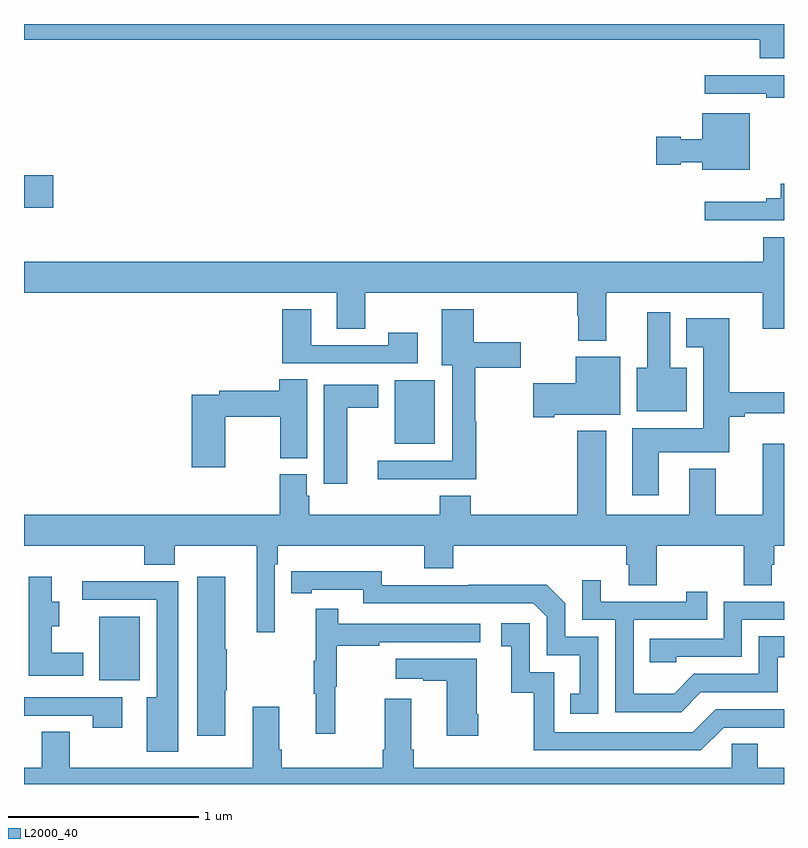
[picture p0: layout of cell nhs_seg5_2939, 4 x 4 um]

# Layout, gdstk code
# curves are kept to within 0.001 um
import gdstk
lib = gdstk.Library(unit=1e-6, precision=1e-09)
def R(c, l, rs):  # rectangles x0, y0, x1, y1
    for r in rs: c.add(gdstk.rectangle(r[:2], r[2:], *l))
def P(c, l, *ps):  # polygons
    for p in ps: c.add(gdstk.Polygon(p, *l))
L2000_40 = (2000, 40)

nhs_seg5_2939 = lib.new_cell('nhs_seg5_2939')
R(nhs_seg5_2939, L2000_40, [(281.396,897.344,281.608,897.679), (282.95,898.589,283.162,898.924), (281,899.831,281.155,900.002)])
P(nhs_seg5_2939, L2000_40, [(285,900.799),(281,900.799),(281,900.716),(284.873,900.716),(284.873,900.618),(285,900.618)],
  [(285,900.528),(284.829,900.528),(284.829,900.53),(284.583,900.53),(284.583,900.432),(284.906,900.432),(284.906,900.412),(285,900.412)],
  [(284.821,900.328),(284.57,900.328),(284.57,900.193),(284.457,900.193),(284.457,900.206),(284.328,900.206),(284.328,900.059),(284.457,900.059),(284.457,900.071),(284.57,900.071),(284.57,900.032),(284.821,900.032)],
  [(284.795,899.766),(285,899.766),(285,899.959),(284.983,899.959),(284.983,899.882),(284.906,899.882),(284.906,899.863),(284.583,899.863),(284.583,899.765),(284.795,899.765)],
  [(284.065,899.384),(284.888,899.384),(284.888,899.196),(285,899.196),(285,899.677),(284.891,899.677),(284.891,899.548),(281,899.548),(281,899.384),(282.647,899.384),(282.647,899.194),(282.795,899.194),(282.795,899.384),(283.913,899.384),(283.913,899.264),(283.918,899.264),(283.918,899.132),(284.065,899.132)],
  [(283.072,899.173),(282.916,899.173),(282.916,899.109),(282.511,899.109),(282.511,899.299),(282.359,899.299),(282.359,899.013),(283.072,899.013)],
  [(283.379,898.707),(283.374,898.707),(283.374,898.991),(283.615,898.991),(283.615,899.125),(283.366,899.125),(283.366,899.299),(283.199,899.299),(283.199,899.003),(283.253,899.003),(283.253,898.5),(282.861,898.5),(282.861,898.403),(283.379,898.403)],
  [(284.488,898.99),(284.401,898.99),(284.401,899.281),(284.279,899.281),(284.279,898.99),(284.225,898.99),(284.225,898.76),(284.488,898.76)],
  [(284.341,898.544),(284.711,898.544),(284.711,898.732),(284.794,898.732),(284.794,898.751),(285,898.751),(285,898.861),(284.711,898.861),(284.711,899.251),(284.486,899.251),(284.486,899.099),(284.576,899.099),(284.576,898.672),(284.201,898.672),(284.201,898.32),(284.341,898.32)],
  [(283.792,898.742),(284.137,898.742),(284.137,899.047),(283.904,899.047),(283.904,898.908),(283.68,898.908),(283.68,898.73),(283.792,898.73)],
  [(282.06,898.732),(282.349,898.732),(282.349,898.513),(282.49,898.513),(282.49,898.928),(282.344,898.928),(282.344,898.868),(282.028,898.868),(282.028,898.848),(281.882,898.848),(281.882,898.467),(282.06,898.467)],
  [(282.7,898.778),(282.865,898.778),(282.865,898.9),(282.578,898.9),(282.578,898.38),(282.7,898.38)],
  [(283.187,898.216),(282.5,898.216),(282.5,898.317),(282.487,898.317),(282.487,898.428),(282.347,898.428),(282.347,898.216),(281,898.216),(281,898.052),(281.633,898.052),(281.633,897.953),(281.793,897.953),(281.793,898.052),(282.224,898.052),(282.224,897.597),(282.321,897.597),(282.321,897.956),(282.335,897.956),(282.335,898.052),(283.106,898.052),(283.106,897.935),(283.259,897.935),(283.259,898.052),(284.171,898.052),(284.171,897.954),(284.183,897.954),(284.183,897.844),(284.331,897.844),(284.331,898.052),(284.788,898.052),(284.788,897.844),(284.935,897.844),(284.935,897.954),(284.948,897.954),(284.948,898.052),(285,898.052),(285,898.591),(284.888,898.591),(284.888,898.216),(284.641,898.216),(284.641,898.459),(284.501,898.459),(284.501,898.216),(284.065,898.216),(284.065,898.657),(283.913,898.657),(283.913,898.216),(283.352,898.216),(283.352,898.315),(283.187,898.315)],
  [(284.022,897.573),(283.848,897.573),(283.848,897.75),(283.75,897.848),(283.342,897.848),(283.342,897.846),(282.882,897.846),(282.882,897.919),(282.406,897.918),(282.406,897.802),(282.514,897.802),(282.514,897.822),(282.786,897.822),(282.786,897.75),(283.68,897.75),(283.752,897.678),(283.752,897.477),(283.925,897.477),(283.925,897.273),(283.876,897.273),(283.876,897.168),(284.022,897.168)],
  [(281.311,897.49),(281.146,897.49),(281.146,897.629),(281.185,897.629),(281.185,897.759),(281.146,897.759),(281.146,897.889),(281.024,897.889),(281.024,897.368),(281.311,897.368)],
  [(282.058,897.292),(282.066,897.292),(282.066,897.509),(282.058,897.509),(282.058,897.889),(281.912,897.889),(281.912,897.054),(282.058,897.054)],
  [(284.563,897.282),(284.967,897.282),(284.967,897.467),(285,897.467),(285,897.577),(284.868,897.577),(284.868,897.378),(284.526,897.378),(284.422,897.274),(284.208,897.274),(284.208,897.663),(284.597,897.663),(284.597,897.811),(284.486,897.811),(284.486,897.759),(284.035,897.759),(284.035,897.871),(283.938,897.871),(283.938,897.663),(284.112,897.663),(284.112,897.177),(284.458,897.177)],
  [(281.812,897.866),(281.307,897.866),(281.307,897.768),(281.699,897.768),(281.699,897.256),(281.645,897.256),(281.645,896.97),(281.812,896.97)],
  [(284.433,897.468),(284.778,897.468),(284.778,897.663),(285,897.663),(285,897.759),(284.682,897.759),(284.682,897.564),(284.293,897.564),(284.293,897.441),(284.433,897.441)],
  [(282.638,897.312),(282.646,897.312),(282.646,897.526),(282.869,897.526),(282.869,897.546),(283.402,897.546),(283.402,897.642),(282.653,897.642),(282.653,897.721),(282.536,897.721),(282.536,897.449),(282.525,897.449),(282.525,897.275),(282.536,897.275),(282.536,897.063),(282.638,897.063)],
  [(284.682,897.096),(285,897.096),(285,897.192),(284.64,897.192),(284.52,897.072),(283.791,897.072),(283.791,897.387),(283.662,897.387),(283.662,897.646),(283.512,897.646),(283.512,897.525),(283.565,897.525),(283.565,897.279),(283.683,897.279),(283.683,896.976),(284.562,896.976)],
  [(283.392,897.166),(283.384,897.166),(283.384,897.457),(282.957,897.457),(282.957,897.353),(283.1,897.353),(283.1,897.343),(283.226,897.343),(283.226,897.054),(283.392,897.054)],
  [(281.518,897.255),(281,897.255),(281,897.159),(281.362,897.159),(281.362,897.096),(281.518,897.096)],
  [(285,896.884),(284.863,896.884),(284.863,897.011),(284.724,897.011),(284.724,896.884),(283.052,896.884),(283.052,896.98),(283.039,896.98),(283.039,897.247),(282.899,897.247),(282.899,896.98),(282.887,896.98),(282.887,896.884),(282.356,896.884),(282.356,896.98),(282.343,896.98),(282.343,897.205),(282.203,897.205),(282.203,896.884),(281.241,896.884),(281.241,897.074),(281.093,897.074),(281.093,896.884),(281,896.884),(281,896.799),(285,896.799)])

lib.write_gds('nhs_seg5_2939.gds')
